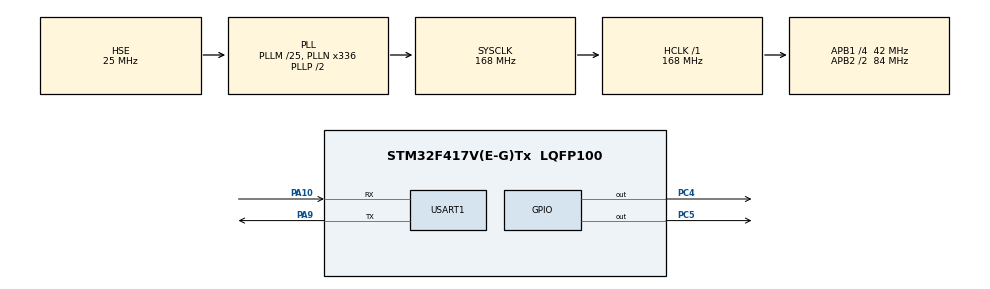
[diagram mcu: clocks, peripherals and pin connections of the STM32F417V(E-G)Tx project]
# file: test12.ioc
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FREERTOS.Tasks01=LEDTask,0,128,StartLEDTask,Default,NULL,Dynamic,NULL,NULL;TestTask,-1,128,StartTestTask,Default,NULL,Dynamic,NULL,NULL
FREERTOS.configUSE_NEWLIB_REENTRANT=1
Mcu.Family=STM32F4
Mcu.Name=STM32F417V(E-G)Tx
Mcu.Package=LQFP100
NVIC.PriorityGroup=NVIC_PRIORITYGROUP_4
NVIC.TIM1_UP_TIM10_IRQn=true\:15\:0\:false\:false\:true\:false\:false\:true\:true
NVIC.TimeBase=TIM1_UP_TIM10_IRQn
NVIC.TimeBaseIP=TIM1
NVIC.USART1_IRQn=true\:5\:0\:false\:false\:true\:true\:true\:true\:true
PA10.GPIO_ModeDefaultPP=GPIO_MODE_AF_PP
PA10.GPIO_PuPd=GPIO_PULLUP
PA10.GPIO_Speed=GPIO_SPEED_FREQ_HIGH
PA10.Mode=Asynchronous
PA10.Signal=USART1_RX
PA13.Mode=Trace_Synchro_2bits_SW
PA13.Signal=SYS_JTMS-SWDIO
PA14.Mode=Trace_Synchro_2bits_SW
PA14.Signal=SYS_JTCK-SWCLK
PA9.GPIO_ModeDefaultPP=GPIO_MODE_AF_PP
PA9.GPIO_PuPd=GPIO_PULLUP
PA9.GPIO_Speed=GPIO_SPEED_FREQ_HIGH
PA9.Mode=Asynchronous
PA9.Signal=USART1_TX
PC14-OSC32_IN.Mode=LSE-External-Oscillator
PC14-OSC32_IN.Signal=RCC_OSC32_IN
PC15-OSC32_OUT.Mode=LSE-External-Oscillator
PC15-OSC32_OUT.Signal=RCC_OSC32_OUT
PC4.GPIO_ModeDefaultOutputPP=GPIO_MODE_OUTPUT_PP
PC4.GPIO_PuPd=GPIO_PULLUP
PC4.GPIO_Speed=GPIO_SPEED_FREQ_HIGH
PC4.PinState=GPIO_PIN_SET
PC4.Signal=GPIO_Output
PC5.GPIO_ModeDefaultOutputPP=GPIO_MODE_OUTPUT_PP
PC5.GPIO_PuPd=GPIO_PULLUP
PC5.GPIO_Speed=GPIO_SPEED_FREQ_HIGH
PC5.PinState=GPIO_PIN_SET
PC5.Signal=GPIO_Output
PE2.Mode=Trace_Synchro_2bits_SW
PE2.Signal=SYS_TRACECLK
PE3.Mode=Trace_Synchro_2bits_SW
PE3.Signal=SYS_TRACED0
PE4.Mode=Trace_Synchro_2bits_SW
PE4.Signal=SYS_TRACED1
PH0-OSC_IN.Mode=HSE-External-Oscillator
PH0-OSC_IN.Signal=RCC_OSC_IN
PH1-OSC_OUT.Mode=HSE-External-Oscillator
PH1-OSC_OUT.Signal=RCC_OSC_OUT
ProjectManager.HeapSize=0x200
ProjectManager.StackSize=0x400
ProjectManager.TargetToolchain=STM32CubeIDE
RCC.48MHZClocksFreq_Value=84000000
RCC.AHBFreq_Value=168000000
RCC.APB1CLKDivider=RCC_HCLK_DIV4
RCC.APB1Freq_Value=42000000
RCC.APB1TimFreq_Value=84000000
RCC.APB2CLKDivider=RCC_HCLK_DIV2
RCC.APB2Freq_Value=84000000
RCC.APB2TimFreq_Value=168000000
RCC.CortexFreq_Value=168000000
RCC.HCLKFreq_Value=168000000
RCC.HSE_VALUE=25000000
RCC.HSI_VALUE=16000000
RCC.PLLM=25
RCC.PLLN=336
RCC.PLLSourceVirtual=RCC_PLLSOURCE_HSE
RCC.SYSCLKFreq_VALUE=168000000
RCC.SYSCLKSource=RCC_SYSCLKSOURCE_PLLCLK
RCC.VCOOutputFreq_Value=336000000
USART1.VirtualMode=VM_ASYNC
VP_FREERTOS_VS_CMSIS_V1.Mode=CMSIS_V1
VP_SYS_VS_tim1.Mode=TIM1
board=custom

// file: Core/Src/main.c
/* USER CODE BEGIN Header */
/**
  ******************************************************************************
  * @file           : main.c
  * @brief          : Main program body
  ******************************************************************************
  * @attention
  *
  * Copyright (c) 2022 STMicroelectronics.
  * All rights reserved.
  *
  * This software is licensed under terms that can be found in the LICENSE file
  * in the root directory of this software component.
  * If no LICENSE file comes with this software, it is provided AS-IS.
  *
  ******************************************************************************
  */
/* USER CODE END Header */
#include "main.h"
#include "cmsis_os.h"
#include "usart.h"
#include "gpio.h"

/* USER CODE BEGIN Includes */
#include <stdio.h>		//引入标准库
/* USER CODE END Includes */

void SystemClock_Config(void);
void MX_FREERTOS_Init(void);
/* USER CODE BEGIN PFP */
#ifdef __GNUC__
#define PUTCHAR_PROTOTYPE int __io_putchar(int ch)   //STM32CubeIDE
#else

#define PUTCHAR_PROTOTYPE int fputc(int ch, FILE *f)  //Keil

#endif
PUTCHAR_PROTOTYPE
{
	HAL_UART_Transmit(&huart1, (uint8_t*)&ch, 1, HAL_MAX_DELAY);
	return ch;
}

int _write(int file, char *ptr, int len)
{
	int DataIdx;

	for(DataIdx=0; DataIdx<len; DataIdx++)
	{
		__io_putchar(*ptr++);
	}

	return len;
}
/* USER CODE END PFP */

int main(void)
{

  /* MCU Configuration--------------------------------------------------------*/

  /* Reset of all peripherals, Initializes the Flash interface and the Systick. */
  HAL_Init();

  /* Configure the system clock */
  SystemClock_Config();

  /* Initialize all configured peripherals */
  MX_GPIO_Init();
  MX_USART1_UART_Init();

  /* Call init function for freertos objects (in freertos.c) */
  MX_FREERTOS_Init();

  /* Start scheduler */
  osKernelStart();

  /* We should never get here as control is now taken by the scheduler */
  /* Infinite loop */
  while (1)
  {

  }
}

void SystemClock_Config(void)
{
  RCC_OscInitTypeDef RCC_OscInitStruct = {0};
  RCC_ClkInitTypeDef RCC_ClkInitStruct = {0};

  /** Configure the main internal regulator output voltage
  */
  __HAL_RCC_PWR_CLK_ENABLE();
  __HAL_PWR_VOLTAGESCALING_CONFIG(PWR_REGULATOR_VOLTAGE_SCALE1);

  /** Initializes the RCC Oscillators according to the specified parameters
  * in the RCC_OscInitTypeDef structure.
  */
  RCC_OscInitStruct.OscillatorType = RCC_OSCILLATORTYPE_HSE;
  RCC_OscInitStruct.HSEState = RCC_HSE_ON;
  RCC_OscInitStruct.PLL.PLLState = RCC_PLL_ON;
  RCC_OscInitStruct.PLL.PLLSource = RCC_PLLSOURCE_HSE;
  RCC_OscInitStruct.PLL.PLLM = 25;
  RCC_OscInitStruct.PLL.PLLN = 336;
  RCC_OscInitStruct.PLL.PLLP = RCC_PLLP_DIV2;
  RCC_OscInitStruct.PLL.PLLQ = 4;
  if (HAL_RCC_OscConfig(&RCC_OscInitStruct) != HAL_OK)
  {
    Error_Handler();
  }

  /** Initializes the CPU, AHB and APB buses clocks
  */
  RCC_ClkInitStruct.ClockType = RCC_CLOCKTYPE_HCLK|RCC_CLOCKTYPE_SYSCLK
                              |RCC_CLOCKTYPE_PCLK1|RCC_CLOCKTYPE_PCLK2;
  RCC_ClkInitStruct.SYSCLKSource = RCC_SYSCLKSOURCE_PLLCLK;
  RCC_ClkInitStruct.AHBCLKDivider = RCC_SYSCLK_DIV1;
  RCC_ClkInitStruct.APB1CLKDivider = RCC_HCLK_DIV4;
  RCC_ClkInitStruct.APB2CLKDivider = RCC_HCLK_DIV2;

  if (HAL_RCC_ClockConfig(&RCC_ClkInitStruct, FLASH_LATENCY_5) != HAL_OK)
  {
    Error_Handler();
  }
}

void HAL_TIM_PeriodElapsedCallback(TIM_HandleTypeDef *htim)
{
  if (htim->Instance == TIM1) {
    HAL_IncTick();
  }
}

void Error_Handler(void)
{
  __disable_irq();
  while (1)
  {
  }
}

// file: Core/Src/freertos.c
/* USER CODE BEGIN Header */
/**
  ******************************************************************************
  * File Name          : freertos.c
  * Description        : Code for freertos applications
  ******************************************************************************
  * @attention
  *
  * Copyright (c) 2022 STMicroelectronics.
  * All rights reserved.
  *
  * This software is licensed under terms that can be found in the LICENSE file
  * in the root directory of this software component.
  * If no LICENSE file comes with this software, it is provided AS-IS.
  *
  ******************************************************************************
  */
/* USER CODE END Header */

#include "FreeRTOS.h"
#include "task.h"
#include "main.h"
#include "cmsis_os.h"

/* USER CODE BEGIN Includes */
#include <stdio.h>
/* USER CODE END Includes */

/* USER CODE BEGIN Variables */
uint8_t *Test_Ptr = NULL;
/* USER CODE END Variables */
osThreadId LEDTaskHandle;
osThreadId TestTaskHandle;

void StartLEDTask(void const * argument);
void StartTestTask(void const * argument);

void MX_FREERTOS_Init(void); /* (MISRA C 2004 rule 8.1) */

/* GetIdleTaskMemory prototype (linked to static allocation support) */
void vApplicationGetIdleTaskMemory( StaticTask_t **ppxIdleTaskTCBBuffer, StackType_t **ppxIdleTaskStackBuffer, uint32_t *pulIdleTaskStackSize );

/* USER CODE BEGIN GET_IDLE_TASK_MEMORY */
static StaticTask_t xIdleTaskTCBBuffer;
static StackType_t xIdleStack[configMINIMAL_STACK_SIZE];

void vApplicationGetIdleTaskMemory( StaticTask_t **ppxIdleTaskTCBBuffer, StackType_t **ppxIdleTaskStackBuffer, uint32_t *pulIdleTaskStackSize )
{
  *ppxIdleTaskTCBBuffer = &xIdleTaskTCBBuffer;
  *ppxIdleTaskStackBuffer = &xIdleStack[0];
  *pulIdleTaskStackSize = configMINIMAL_STACK_SIZE;
  /* place for user code */
}
/* USER CODE END GET_IDLE_TASK_MEMORY */

void MX_FREERTOS_Init(void) {

  /* Create the thread(s) */
  /* definition and creation of LEDTask */
  osThreadDef(LEDTask, StartLEDTask, osPriorityNormal, 0, 128);
  LEDTaskHandle = osThreadCreate(osThread(LEDTask), NULL);

  /* definition and creation of TestTask */
  osThreadDef(TestTask, StartTestTask, osPriorityBelowNormal, 0, 128);
  TestTaskHandle = osThreadCreate(osThread(TestTask), NULL);

}

void StartLEDTask(void const * argument)
{
  /* USER CODE BEGIN StartLEDTask */
  /* Infinite loop */
  for(;;)
  {
	HAL_GPIO_TogglePin(GPIOC, GPIO_PIN_4);
    osDelay(1);
  }
  /* USER CODE END StartLEDTask */
}

void StartTestTask(void const * argument)
{
  /* USER CODE BEGIN StartTestTask */
  uint32_t g_memsize;
  uint32_t count = 0;
  /* Infinite loop */
  for(;;)
  {
	if(count%10==0)
	{
		if(NULL == Test_Ptr)
		{
			g_memsize = xPortGetFreeHeapSize();	//获取当前内存大小
			printf("系统当前内存为%d字节，开始申请内存\r\n", (int)g_memsize);
			Test_Ptr = pvPortMalloc(1024);
			if(NULL != Test_Ptr)
			{
				printf("内存申请成功！\r\n");
				printf("申请到的内存地址为%#x\r\n",(int)Test_Ptr);

				//获取当前剩余内存大小
				g_memsize = xPortGetFreeHeapSize();
				printf("系统当前内存剩余为%d字节！\r\n", (int)g_memsize);
				//向Test_Ptr中写入数据：当前系统时间
				sprintf((char*)Test_Ptr, "当前系统TickCount = %d\r\n", (int)xTaskGetTickCount());
				printf("写入的数据是 %s \r\n", (char*)Test_Ptr);
			}
		}
		else
		{
			printf("请先释放内存再申请\r\n");
		}
	}
	if(count%20==0)
	{
		if(NULL != Test_Ptr)
		{
			printf("释放内存！\r\n");
			vPortFree(Test_Ptr);
			Test_Ptr = NULL;

			g_memsize = xPortGetFreeHeapSize();
			printf("系统当前内存为%d字节，内存释放完成\r\n", (int)g_memsize);
		}
		else
		{
			printf("请先申请内存再释放\r\n");
		}
	}
	count++;
    osDelay(1000);
  }
  /* USER CODE END StartTestTask */
}
